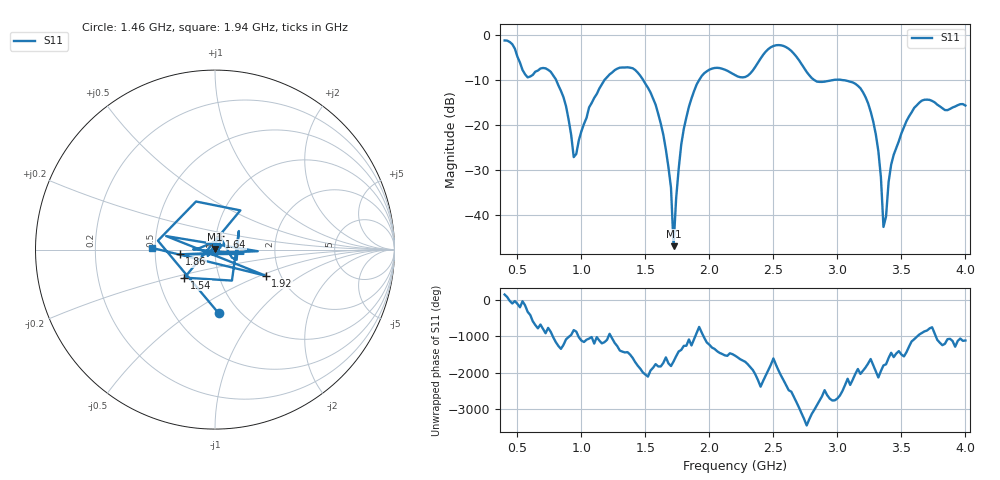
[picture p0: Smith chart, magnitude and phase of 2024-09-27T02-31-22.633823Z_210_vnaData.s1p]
!Created with skrf (http://scikit-rf.org).
# Hz S RI R 50.0
!freq ReS11 ImS11
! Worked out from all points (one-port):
!   181 points, 400 MHz to 4 GHz, reference 50 ohm
!   lowest |S11| = -46.9 dB at 1.72 GHz (marker M1), VSWR 1.01, Z = 49.8 + j0.422 ohm
!   |S11| at or under -10 dB: 802.9 MHz to 1.179 GHz (376.5 MHz wide, 38 % of centre); 1.483 GHz to 1.919 GHz (436.3 MHz wide, 25.6 % of centre); 3.045 GHz to end of sweep (the widest 3 of 4)
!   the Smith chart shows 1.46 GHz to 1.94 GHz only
!   S11 on the Smith chart (normalised r, x): 1.46 GHz: 0.80, -0.65; 1.54 GHz: 0.68, -0.22; 1.64 GHz: 1.04, +0.15; 1.86 GHz: 0.67, -0.04; 1.92 GHz: 1.68, -0.54; 1.94 GHz: 0.48, +0.01
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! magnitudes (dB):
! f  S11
! 400 MHz  -1.2
! 580 MHz  -9.4
! 720 MHz  -7.4
! 860 MHz  -13.8
! 940 MHz  -27.1
! 1.06 GHz  -16.1
! 1.3 GHz  -7.2
! 1.46 GHz  -9.0
! 1.54 GHz  -12.7
! 1.64 GHz  -22.1
! 1.7 GHz  -33.9
! 1.72 GHz  -46.9
! 1.76 GHz  -29.7
! 1.86 GHz  -14.1
! 1.92 GHz  -10.0
! 1.94 GHz  -9.1
! 2.2 GHz  -8.9
! 2.5 GHz  -2.4
! 2.66 GHz  -4.1
! 2.84 GHz  -10.3
! 3.1 GHz  -10.3
! 3.28 GHz  -19.2
! 3.34 GHz  -31.6
! 3.36 GHz  -42.6
! 3.42 GHz  -28.8
! 3.56 GHz  -18.0
! 3.68 GHz  -14.4
! 4 GHz  -15.6
